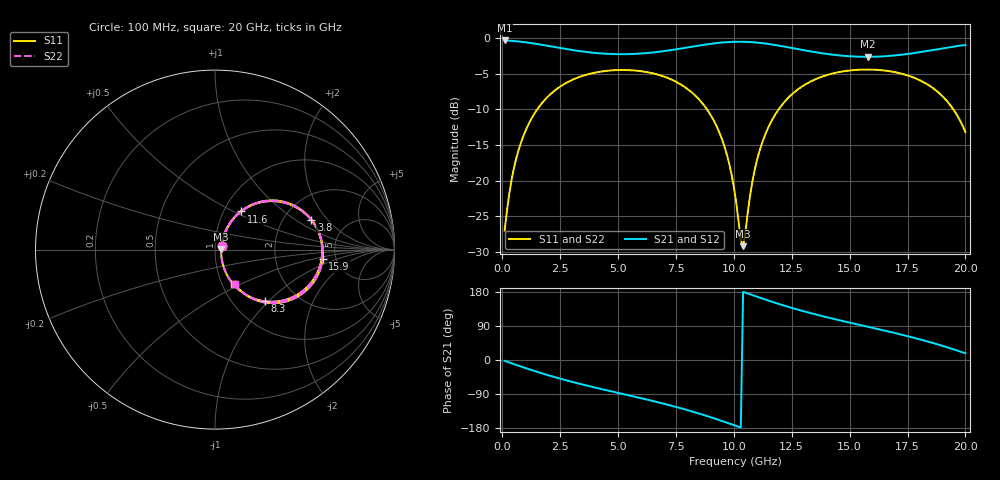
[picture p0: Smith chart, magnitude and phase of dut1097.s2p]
! Touchstone file exported from HFSS 2026.1.0
!  File:  C:/ffzhzh/LocalFiles/Ansys_Project_Files/temp_train_TSV_RDL_1097_1783302766_38704.aedt
!  Generated:  10:07:31 AM Jul  6, 2026
!  Design:  TSV_RDL
!  Project:  temp_train_TSV_RDL_1097_1783302766_38704
! Variables:
!  h_bsmrdl = 3.22um
!  h_ox = 20um
!  h_rdl = 5um
!  h_sub = 87.62um
!  h_tmrdl = 3.65um
!  h_tsv = 87.62um
!  h_via = 3um
!  l_bsmrdl = 936.48um
!  l_sub = 5529.5um
!  l_tmrdl = 556.54um
!  m_sub = 200um
!  pitch = 49.92um
!  r_tsv = 14.16um
!  s_tmrdl = 10um
!  w_bsmrdl = 11.19um
!  w_sub = 500um
!  w_tmrdl = 20.11um
!  x_tsv_center1 = 566.595um
!  x_tsv_center2 = 1514.265um
!  x_tsv_center3 = 2090.915um
!  x_tsv_center4 = 3038.585um
!  x_tsv_center5 = 3615.235um
!  x_tsv_center6 = 4562.905um
# GHz S MA R 50.000000
! Terminal data exported
! Port[1] = TM_RDL1_1_T1
! Port[2] = TM_RDL5_1_T1
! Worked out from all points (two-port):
!   200 points, 100 MHz to 20 GHz, reference 50 ohm
!   highest |S21| = -0.34 dB at 100 MHz (marker M1); lowest = -2.6 dB at 15.8 GHz (marker M2)
!   |S21| within 3 dB of the highest: start of sweep to end of sweep
!   lowest |S11| = -29.2 dB at 10.4 GHz (marker M3), VSWR 1.07, Z = 53.6 + j0.339 ohm
!   |S11| at or under -10 dB: start of sweep to 1.507 GHz; 8.839 GHz to 11.93 GHz (3.096 GHz wide, 29.8 % of centre); 19.48 GHz to end of sweep
!   |S22| runs from -29.2 to -4.4 dB; largest |S21 - S12| = 1.6e-14
!   S11 on the Smith chart (normalised r, x): 100 MHz: 1.08, +0.05; 3.8 GHz: 2.83, +1.38; 8.3 GHz: 1.39, -0.95; 11.6 GHz: 1.20, +0.55; 15.9 GHz: 3.91, -0.64; 20 GHz: 1.14, -0.46
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0.1  0.04477 30.3  0.962 -2.2  0.962 -2.2  0.04477 30.3
! Gamma 0 0 0 0
! Port Impedance 50 0 50 0
0.5  0.1222 59.8  0.9529 -10.9  0.9529 -10.9  0.1222 59.8
1.2  0.2617 55.6  0.9245 -25.3  0.9245 -25.3  0.2617 55.6
2.2  0.4205 40.6  0.8687 -44.1  0.8687 -44.1  0.4205 40.6
3.5  0.5454 21.4  0.8036 -65.3  0.8036 -65.3  0.5454 21.4
3.8  0.5628 17.2  0.7929 -69.7  0.7929 -69.7  0.5628 17.2
5.3  0.5972 -2.9  0.7709 -91.0  0.7709 -91.0  0.5973 -2.9
6.8  0.5493 -23.3  0.8027 -112.7  0.8027 -112.7  0.5493 -23.3
8.3  0.4002 -46.0  0.8756 -137.7  0.8756 -137.7  0.4002 -46.0
9.4  0.2128 -62.4  0.9274 -159.1  0.9274 -159.1  0.2128 -62.5
9.8  0.1316 -64.7  0.9383 -167.5  0.9383 -167.5  0.1316 -64.7
10.1  0.0708 -56.9  0.9422 -173.9  0.9422 -173.9  0.07079 -57.0
10.3  0.03876 -27.3  0.9425 -178.2  0.9425 -178.2  0.0387 -27.4
10.4  0.03483 5.2  0.942 179.7  0.942 179.7  0.03473 5.1
10.9  0.1191 60.5  0.9327 169.0  0.9327 169.0  0.119 60.5
11.6  0.2574 55.7  0.9037 154.6  0.9037 154.6  0.2573 55.7
13.4  0.5038 28.5  0.8016 122.4  0.8016 122.4  0.5037 28.5
15.8  0.6019 -3.7  0.7389 87.5  0.7389 87.5  0.6019 -3.7
15.9  0.6016 -5.0  0.7391 86.1  0.7391 86.1  0.6016 -5.0
16.7  0.5865 -15.4  0.7492 74.8  0.7492 74.8  0.5865 -15.3
18.7  0.4336 -43.5  0.8304 43.0  0.8304 43.0  0.4336 -43.5
20  0.2196 -60.4  0.8937 17.6  0.8937 17.6  0.2197 -60.3
